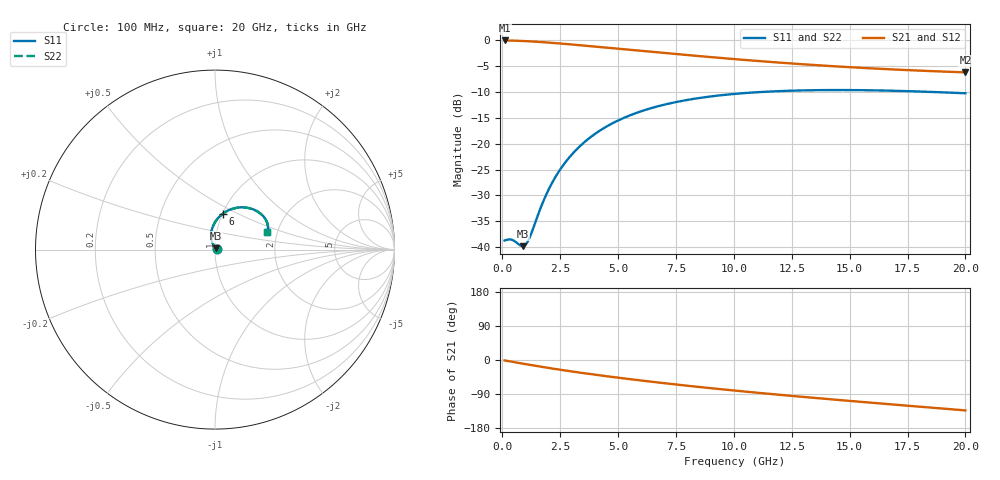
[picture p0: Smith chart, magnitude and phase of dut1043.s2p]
! Touchstone file exported from HFSS 2024.1.0
!  File:  C:/UserFiles/LocalFiles/RDL_TSV_Batchsim/temp_RDL_TSV_1043_1780086407.aedt
!  Generated:  04:41:48 AM May 30, 2026
!  Design:  RDL_TSV
!  Project:  temp_RDL_TSV_1043_1780086407
!  Setup:  Setup1
!  Solution:  Sweep
! Variables:
!  dtsv = 5.64um
!  hbump = 3um
!  htsv = 81.61um
!  ldown = 175.63um
!  lrdl = 282.14um
!  p = 40
!  p1 = 44.24um
!  rhole = 10um
!  subl = 1655.45um
!  t = 450um
!  tdown = 3.69um
!  trdl = 2.48um
!  viad = 10um
!  wdown = 20.21um
!  wrdl = 23.65um
!  xbump = 18um
# GHz S MA R 50.000000
! Terminal data exported
! Port[1] = TM1_1_T1
! Port[2] = TM1_4_T1
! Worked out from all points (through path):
!   200 points, 100 MHz to 20 GHz, reference 50 ohm
!   highest |S21| = -0.10 dB at 100 MHz (marker M1); lowest = -6.3 dB at 20 GHz (marker M2)
!   group delay of S21, straight-line fit = 17.6 ps
!   lowest |S11| = -39.8 dB at 900 MHz (marker M3), VSWR 1.02, Z = 50.6 + j0.813 ohm
!   |S11| at or under -10 dB: start of sweep to 11.35 GHz; 18.35 GHz to end of sweep
!   |S22| runs from -39.8 to -9.7 dB; largest |S21 - S12| = 9.1e-15
!   S11 on the Smith chart (normalised r, x): 100 MHz: 1.02, +0.00; 6 GHz: 1.00, +0.42; 20 GHz: 1.76, +0.39
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0.1  0.01163 5.5  0.9882 -1.1  0.9882 -1.1  0.01163 5.5
! Gamma 0 0 0 0
! Port Impedance 50 0 50 0
0.4  0.01186 17.7  0.9851 -4.4  0.9851 -4.4  0.01186 17.7
0.9  0.01026 51.5  0.9761 -9.8  0.9761 -9.8  0.01026 51.3
1  0.01055 62.4  0.9738 -10.9  0.9738 -10.9  0.01055 62.3
1.1  0.01135 73.3  0.9713 -11.9  0.9713 -11.9  0.01134 73.1
1.2  0.01268 82.9  0.9686 -12.9  0.9686 -12.9  0.01267 82.7
1.8  0.02876 108.7  0.9498 -19.0  0.9498 -19.0  0.02869 108.6
2  0.036 110.4  0.9426 -21.0  0.9426 -21.0  0.03591 110.3
2.3  0.04787 110.6  0.9313 -23.8  0.9313 -23.8  0.04775 110.5
2.9  0.07389 107.0  0.9074 -29.3  0.9074 -29.3  0.0737 106.9
3.5  0.1012 101.5  0.8829 -34.6  0.8829 -34.6  0.101 101.4
4  0.1239 96.5  0.8625 -38.7  0.8625 -38.7  0.1236 96.5
4.6  0.1503 90.5  0.8383 -43.6  0.8383 -43.6  0.1499 90.5
5.3  0.1791 83.9  0.8109 -49.0  0.8109 -49.0  0.1787 83.8
6  0.2052 77.6  0.7843 -54.2  0.7843 -54.2  0.2047 77.6
6.8  0.2316 71.0  0.7552 -59.9  0.7552 -59.9  0.231 71.0
8.3  0.2709 60.1  0.7045 -69.9  0.7045 -69.9  0.2702 60.1
10.1  0.3026 49.4  0.651 -81.1  0.651 -81.1  0.3018 49.3
11.7  0.3191 41.5  0.6104 -90.3  0.6104 -90.3  0.3182 41.4
13.4  0.3273 34.5  0.5741 -99.6  0.5741 -99.6  0.3264 34.5
16.7  0.3242 24.6  0.5213 -116.6  0.5213 -116.6  0.3231 24.6
20  0.3058 18.9  0.4864 -133.0  0.4864 -133.0  0.3045 18.9
